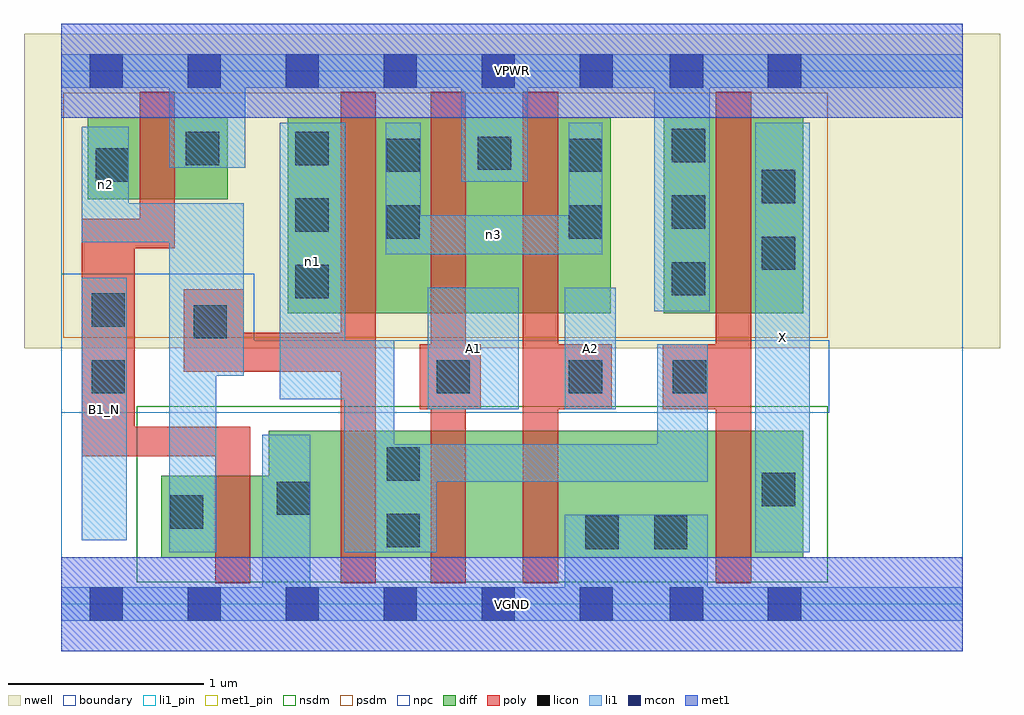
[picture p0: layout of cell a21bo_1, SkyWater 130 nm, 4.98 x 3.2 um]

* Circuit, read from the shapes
.subckt a21bo_1 A1 A2 B1_N VGND VPWR X n1 n2 n3
XM1 VGND B1_N n2 VSUBS sky130_fd_pr__nfet_01v8 w=0.42 l=0.18
XM2 n1 n2 VGND VSUBS sky130_fd_pr__nfet_01v8 w=0.65 l=0.18
XM3 n4 A1 n1 VSUBS sky130_fd_pr__nfet_01v8 w=0.65 l=0.18
XM4 VGND A2 n4 VSUBS sky130_fd_pr__nfet_01v8 w=0.65 l=0.18
XM5 X n1 VGND VSUBS sky130_fd_pr__nfet_01v8 w=0.65 l=0.18
XM6 VPWR B1_N n2 n5 sky130_fd_pr__pfet_01v8 w=0.42 l=0.18
XM7 n3 n2 n1 n5 sky130_fd_pr__pfet_01v8 w=1 l=0.18
XM8 VPWR A1 n3 n5 sky130_fd_pr__pfet_01v8 w=1 l=0.18
XM9 n3 A2 VPWR n5 sky130_fd_pr__pfet_01v8 w=1 l=0.18
XM10 X n1 VPWR n5 sky130_fd_pr__pfet_01v8 w=1 l=0.18
.ends

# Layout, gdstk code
import gdstk
lib = gdstk.Library(unit=1e-6, precision=1e-09)
def R(c, l, rs):  # rectangles x0, y0, x1, y1
    for r in rs: c.add(gdstk.rectangle(r[:2], r[2:], *l))
def A(c, l, x, y, w, h, nx, ny, dx, dy):  # array of equal rectangles
    R(c, l, [(x+i*dx, y+j*dy, x+i*dx+w, y+j*dy+h) for i in range(nx) for j in range(ny)])
nwell = (64, 20)
diff = (65, 20)
poly = (66, 20)
licon = (66, 44)
li1_pin = (67, 16)
li1 = (67, 20)
mcon = (67, 44)
met1_pin = (68, 16)
met1 = (68, 20)
nsdm = (93, 44)
psdm = (94, 20)
npc = (95, 20)
boundary = (235, 4)

a21bo_1 = lib.new_cell('a21bo_1')
R(a21bo_1, nwell, [(-0.19,1.305,4.79,2.91), (0,1.305,4.6,2.91)])
R(a21bo_1, diff, [(0.51,0.235,3.785,0.655), (1.06,0.235,3.785,0.885), (1.155,1.485,2.805,2.485), (3.075,1.485,3.785,2.485), (0.135,2.065,0.85,2.485)])
R(a21bo_1, poly, [(0.785,0.105,0.965,0.905), (1.425,0.105,1.605,2.615), (1.885,0.105,2.065,2.615), (2.355,0.105,2.535,2.615), (3.34,0.105,3.52,2.615), (0.105,0.755,0.375,1.965), (0.105,0.755,0.965,0.905), (1.83,0.995,2.14,1.325), (2.355,0.995,2.81,1.325), (3.07,0.995,3.52,1.325), (0.625,1.185,1.605,1.385), (0.625,1.185,0.93,1.605), (0.105,1.815,0.58,1.965), (0.4,1.815,0.58,2.615)])
A(a21bo_1, licon, 1.195, 1.56, 0.17, 0.17, 1, 3, 0, 0.34)
A(a21bo_1, licon, 3.115, 1.575, 0.17, 0.17, 1, 3, 0, 0.34)
R(a21bo_1, licon, [(2.675,0.28,2.845,0.45), (3.025,0.28,3.195,0.45), (1.66,0.29,1.83,0.46), (0.555,0.385,0.725,0.555), (1.1,0.455,1.27,0.625), (3.575,0.5,3.745,0.67), (1.66,0.63,1.83,0.8), (0.155,1.075,0.325,1.245), (1.915,1.075,2.085,1.245), (2.59,1.075,2.76,1.245), (3.12,1.075,3.29,1.245), (0.675,1.355,0.845,1.525), (0.155,1.415,0.325,1.585), (3.575,1.705,3.745,1.875), (1.66,1.865,1.83,2.035), (2.59,1.865,2.76,2.035), (3.575,2.045,3.745,2.215), (0.175,2.155,0.345,2.325), (1.66,2.205,1.83,2.375), (2.59,2.205,2.76,2.375), (2.125,2.215,2.295,2.385), (0.635,2.24,0.805,2.41)])
R(a21bo_1, li1_pin, [(3.54,0.265,3.82,2.455), (0.105,0.325,0.335,1.665), (1.87,0.995,2.335,1.615), (2.57,0.995,2.83,1.615)])
R(a21bo_1, li1, [(0,-0.085,4.6,0.085), (1.025,-0.085,1.27,0.865), (2.57,-0.085,3.3,0.455), (0.55,0.265,0.79,2.045), (1.445,0.265,1.7,1.345), (1.445,0.265,1.915,0.815), (3.54,0.265,3.82,2.455), (0.105,0.325,0.335,1.665), (1.445,0.625,3.3,0.815), (3.04,0.625,3.3,1.325), (1.87,0.995,2.335,1.615), (2.57,0.995,2.83,1.615), (1.115,1.045,1.45,2.455), (0.55,1.165,0.93,2.045), (3.025,1.495,3.31,2.805), (1.655,1.785,2.76,1.985), (1.655,1.785,1.835,2.455), (2.59,1.785,2.76,2.455), (0.105,1.845,0.345,2.435), (0.105,1.845,0.93,2.045), (2.04,2.155,2.38,2.805), (0.55,2.225,0.94,2.805), (0,2.635,4.6,2.805)])
A(a21bo_1, mcon, 0.145, -0.085, 0.17, 0.17, 6, 2, 0.5, 2.72)
R(a21bo_1, mcon, [(3.105,-0.085,3.275,0.085), (3.605,-0.085,3.775,0.085), (3.105,2.635,3.275,2.805), (3.605,2.635,3.775,2.805)])
R(a21bo_1, met1_pin, [(0,-0.24,4.6,0.24), (0,2.48,4.6,2.96)])
R(a21bo_1, met1, [(0,-0.24,4.6,0.24), (0,2.48,4.6,2.96)])
R(a21bo_1, nsdm, [(0.385,0.11,3.91,1.01)])
R(a21bo_1, psdm, [(0.01,1.36,3.91,2.61)])
R(a21bo_1, npc, [(0,0.975,3.92,1.345), (0,0.975,0.985,1.685)])
R(a21bo_1, boundary, [(0,0,4.6,2.72)])
a21bo_1.add(gdstk.Label('A1', (2.102,1.305), layer=67, texttype=5))
a21bo_1.add(gdstk.Label('A2', (2.7,1.305), layer=67, texttype=5))
a21bo_1.add(gdstk.Label('B1_N', (0.22,0.995), layer=67, texttype=5))
a21bo_1.add(gdstk.Label('X', (3.68,1.36), layer=67, texttype=5))
a21bo_1.add(gdstk.Label('n2', (0.225,2.14), layer=67, texttype=5))
a21bo_1.add(gdstk.Label('n1', (1.282,1.75), layer=67, texttype=5))
a21bo_1.add(gdstk.Label('n3', (2.207,1.885), layer=67, texttype=5))
a21bo_1.add(gdstk.Label('VPWR', (2.3,2.72), layer=68, texttype=5))
a21bo_1.add(gdstk.Label('VGND', (2.3,0), layer=68, texttype=5))
a21bo_1.add(gdstk.Label('A1', (2.102,1.305), layer=67, texttype=16))
a21bo_1.add(gdstk.Label('A2', (2.7,1.305), layer=67, texttype=16))
a21bo_1.add(gdstk.Label('B1_N', (0.22,0.995), layer=67, texttype=16))
a21bo_1.add(gdstk.Label('X', (3.68,1.36), layer=67, texttype=16))
a21bo_1.add(gdstk.Label('VPWR', (2.3,2.72), layer=68, texttype=16))
a21bo_1.add(gdstk.Label('VGND', (2.3,0), layer=68, texttype=16))

lib.write_gds('a21bo_1.gds')
